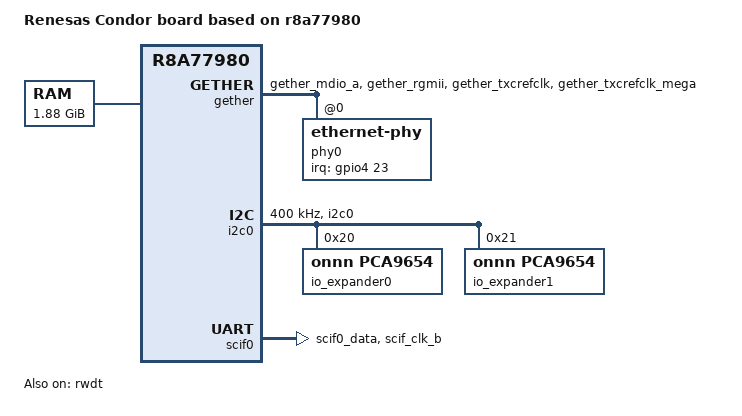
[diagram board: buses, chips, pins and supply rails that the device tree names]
// SPDX-License-Identifier: GPL-2.0
/*
 * Device Tree Source for the Condor board
 *
 * Copyright (C) 2018 Renesas Electronics Corp.
 * Copyright (C) 2018 Cogent Embedded, Inc.
 */

/dts-v1/;
#include "r8a77980.dtsi"
#include <dt-bindings/gpio/gpio.h>

/ {
	model = "Renesas Condor board based on r8a77980";
	compatible = "renesas,condor", "renesas,r8a77980";

	aliases {
		serial0 = &scif0;
		ethernet0 = &gether;
	};

	chosen {
		bootargs = "ignore_loglevel rw root=/dev/nfs ip=dhcp";
		stdout-path = "serial0:115200n8";
	};

	memory@48000000 {
		device_type = "memory";
		/* first 128MB is reserved for secure area. */
		reg = <0 0x48000000 0 0x78000000>;
	};
};

&extal_clk {
	clock-frequency = <16666666>;
};

&extalr_clk {
	clock-frequency = <32768>;
};

&gether {
	pinctrl-0 = <&gether_pins>;
	pinctrl-names = "default";

	phy-mode = "rgmii-id";
	phy-handle = <&phy0>;
	renesas,no-ether-link;
	status = "okay";

	phy0: ethernet-phy@0 {
		rxc-skew-ps = <1500>;
		reg = <0>;
		interrupt-parent = <&gpio4>;
		interrupts = <23 IRQ_TYPE_LEVEL_LOW>;
	};
};

&i2c0 {
	pinctrl-0 = <&i2c0_pins>;
	pinctrl-names = "default";

	status = "okay";
	clock-frequency = <400000>;

	io_expander0: gpio@20 {
		compatible = "onnn,pca9654";
		reg = <0x20>;
		gpio-controller;
		#gpio-cells = <2>;
	};

	io_expander1: gpio@21 {
		compatible = "onnn,pca9654";
		reg = <0x21>;
		gpio-controller;
		#gpio-cells = <2>;
	};
};

&pfc {
	gether_pins: gether {
		groups = "gether_mdio_a", "gether_rgmii",
			 "gether_txcrefclk", "gether_txcrefclk_mega";
		function = "gether";
	};

	i2c0_pins: i2c0 {
		groups = "i2c0";
		function = "i2c0";
	};

	scif0_pins: scif0 {
		groups = "scif0_data";
		function = "scif0";
	};

	scif_clk_pins: scif_clk {
		groups = "scif_clk_b";
		function = "scif_clk";
	};
};

&rwdt {
	timeout-sec = <60>;
	status = "okay";
};

&scif0 {
	pinctrl-0 = <&scif0_pins>, <&scif_clk_pins>;
	pinctrl-names = "default";

	status = "okay";
};

&scif_clk {
	clock-frequency = <14745600>;
};
